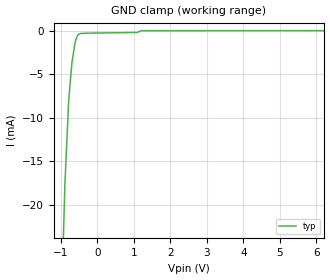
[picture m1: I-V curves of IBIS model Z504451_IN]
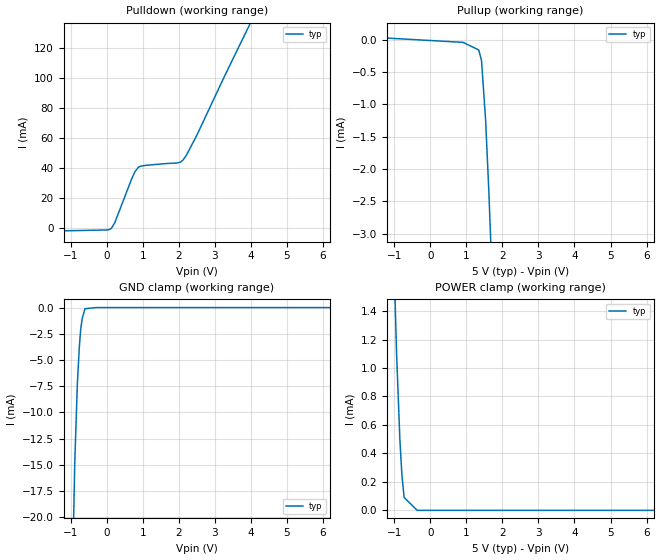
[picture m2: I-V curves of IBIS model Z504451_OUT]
| YOU ARE ONLY AUTHORIZED TO USE THIS SOFTWARE
| ACCORDING TO LICENSOR'S LICENSE RESTRICTIONS.
[IBIS Ver] 3.1
[File Name] sn54ls378j.ibs
[File Rev] 2.0
[Source] Measured and created by ICX Technology
[Date] Friday 7/14/00 9:08:15 AM
[Copyright]
| (C) COPYRIGHT 1993-2000
| MENTOR GRAPHICS CORPORATION
| ICX STANDARD LIBRARY, ICX PROJECT MODELING,
| ICX CUSTOM MODELING, ICX VENDOR MODEL
| ALL RIGHTS RESERVED.
| THE FOLLOWING ARE TRADEMARKS OR SERVICE MARKS OF
| MENTOR GRAPHICS CORPORATION:ICX (R), ICX STANDARD
| LIBRARY(R), ICX PROJECT MODELING(R), ICX CUSTOM
| MODELING(R), qualityIBIS(TM), MODELVIEWER(TM),
| AND MODELEDITOR(TM)
| ALL COPIES OF SOFTWARE, INCLUDING BUT NOT LIMITED TO
| ANY MODIFICATIONS, ENHANCEMENTS OR DERIVATIVE WORKS,
| MUST CONTAIN ALL MENTOR GRAPHICS CORPORATION'S
| NOTICES AND LEGENDS, INCLUDING THOSE EMBEDDED IN
| SOFTWARE AND THOSE AFFIXED TO SOFTWARE MEDIUM
| AND CONTAINER, AS RECEIVED FROM MENTOR GRAPHICS
| CORPORATION.
|  ZAP Model Builder 2.7
[Component] SN54LS378J
[Manufacturer] OnSemiconductor
[Package]
| variable   typ   min   max
R_pkg  .212ohms NA NA
L_pkg  4.758nH NA NA
C_pkg  1.944pF NA NA
[Pin] signal_name  model_name  R_pin  L_pin C_pin
1 _G Z504451_IN .224 7.258n 2.683p
2 Q0 Z504451_OUT .216 5.258n 2.19p
3 D0 Z504451_IN .208 3.758n 1.697p
4 D1 Z504451_IN .2 2.758n 1.204p
5 Q1 Z504451_OUT .2 2.758n 1.204p
6 D2 Z504451_IN .208 3.758n 1.697p
7 Q2 Z504451_OUT .216 5.258n 2.19p
8 GND GND .224 7.258n 2.683p
9 CLK Z504451_IN .224 7.258n 2.683p
10 Q3 Z504451_OUT .216 5.258n 2.19p
11 D3 Z504451_IN .208 3.758n 1.697p
12 Q4 Z504451_OUT .2 2.758n 1.204p
13 D4 Z504451_IN .2 2.758n 1.204p
14 D5 Z504451_IN .208 3.758n 1.697p
15 Q5 Z504451_OUT .216 5.258n 2.19p
16 VCC POWER .224 7.258n 2.683p
| Models and submodels in the file (2): Z504451_IN (Input), Z504451_OUT (Output)
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| (C) COPYRIGHT 1993-2000
| MENTOR GRAPHICS CORPORATION
| ICX STANDARD LIBRARY, ICX PROJECT MODELING,
| ICX CUSTOM MODELING, ICX VENDOR MODEL
| ALL RIGHTS RESERVED.
| THE FOLLOWING ARE TRADEMARKS OR SERVICE MARKS OF
| MENTOR GRAPHICS CORPORATION:ICX (R), ICX STANDARD
| LIBRARY(R), ICX PROJECT MODELING(R), ICX CUSTOM
| MODELING(R), qualityIBIS(TM), MODELVIEWER(TM),
| AND MODELEDITOR(TM)
| ALL COPIES OF SOFTWARE, INCLUDING BUT NOT LIMITED TO
| ANY MODIFICATIONS, ENHANCEMENTS OR DERIVATIVE WORKS,
| MUST CONTAIN ALL MENTOR GRAPHICS CORPORATION'S
| NOTICES AND LEGENDS, INCLUDING THOSE EMBEDDED IN
| SOFTWARE AND THOSE AFFIXED TO SOFTWARE MEDIUM
| AND CONTAINER, AS RECEIVED FROM MENTOR GRAPHICS
| CORPORATION.
| Model Application Version 1.89 2/18/99.
[Model] Z504451_IN
Model_type Input
Vinl = 800.0mV
Vinh = 2.000V
C_comp 4.000pF NA NA
| variable typ   min   max
[Voltage Range] 5.000V NA NA
[GND Clamp Reference] 0.000V NA NA
[POWER Clamp Reference] 5.000V NA NA
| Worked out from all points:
|   GND clamp passes 1 mA (typ) near -0.59 V on its own axis
[GND Clamp]
-5V       -625.9mA   NA         NA
-888.7mV  -17.63mA   NA         NA
-785.8mV  -8.044mA   NA         NA
-693.4mV  -3.553mA   NA         NA
-613.4mV  -1.448mA   NA         NA
-581.1mV  -918.3uA   NA         NA
-527.3mV  -447.3uA   NA         NA
-463.9mV  -316uA     NA         NA
-231.9mV  -279uA     NA         NA
1.089V    -203.9uA   NA         NA
1.206V    -3.043uA   NA         NA
10V       14.97uA    NA         NA
[POWER Clamp]
-5V       0A         NA         NA
10V       0A         NA         NA
| (C) COPYRIGHT 1993-2000
| MENTOR GRAPHICS CORPORATION
| ICX STANDARD LIBRARY, ICX PROJECT MODELING,
| ICX CUSTOM MODELING, ICX VENDOR MODEL
| ALL RIGHTS RESERVED.
| THE FOLLOWING ARE TRADEMARKS OR SERVICE MARKS OF
| MENTOR GRAPHICS CORPORATION:ICX (R), ICX STANDARD
| LIBRARY(R), ICX PROJECT MODELING(R), ICX CUSTOM
| MODELING(R), qualityIBIS(TM), MODELVIEWER(TM),
| AND MODELEDITOR(TM)
| ALL COPIES OF SOFTWARE, INCLUDING BUT NOT LIMITED TO
| ANY MODIFICATIONS, ENHANCEMENTS OR DERIVATIVE WORKS,
| MUST CONTAIN ALL MENTOR GRAPHICS CORPORATION'S
| NOTICES AND LEGENDS, INCLUDING THOSE EMBEDDED IN
| SOFTWARE AND THOSE AFFIXED TO SOFTWARE MEDIUM
| AND CONTAINER, AS RECEIVED FROM MENTOR GRAPHICS
| CORPORATION.
| Model Application Version 1.89 2/18/99.
[Model] Z504451_OUT
Model_type Output
Vref=5.000V
Rref=2.000kohms
Cref=15.00pF
Vmeas=1.300V
C_comp 8.000pF NA NA
| variable typ   min   max
[Voltage Range] 5.000V NA NA
[POWER Clamp Reference] 5.000V NA NA
[Pullup Reference] 5.000V NA NA
[Pulldown Reference] 0.000V NA NA
[GND Clamp Reference] 0.000V NA NA
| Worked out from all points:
|   slope of the pulldown table from 0 to 0.75 V, typ, clamps not added: 20.3 ohm
|   slope of the pullup table from 0 to 0.75 V, typ, clamps not added: 31.8 kohm
|   GND clamp passes 1 mA (typ) near -0.68 V on its own axis
|   POWER clamp passes 1 mA (typ) near -0.92 V on its own axis
[GND Clamp]
-5V       -1.113A    NA         NA
-1.167V   -71.37mA   NA         NA
-1.024V   -37.94mA   NA         NA
-888.7mV  -14.87mA   NA         NA
-817.7mV  -7.382mA   NA         NA
-763mV    -3.832mA   NA         NA
-726.9mV  -2.186mA   NA         NA
-683.6mV  -1.073mA   NA         NA
-606.2mV  -113.8uA   NA         NA
-303.1mV  0A         NA         NA
10V       0A         NA         NA
[Pulldown]
-5V       -3.476mA   NA         NA
87.85mV   -553.6uA   NA         NA
224.6mV   3.958mA    NA         NA
688.7mV   32.82mA    NA         NA
786.1mV   37.8mA     NA         NA
879.9mV   40.72mA    NA         NA
1.934V    43.4mA     NA         NA
2.113V    45.36mA    NA         NA
2.212V    48.76mA    NA         NA
2.495V    61.66mA    NA         NA
3.268V    101.1mA    NA         NA
10V       431.8mA    NA         NA
[Pullup]
-5V       145.1uA    NA         NA
907mV     -40.8uA    NA         NA
1.343V    -158.1uA   NA         NA
1.421V    -323.2uA   NA         NA
1.533V    -1.236mA   NA         NA
1.621V    -2.311mA   NA         NA
10V       -124.7mA   NA         NA
[POWER Clamp]
-5V       37.56mA    NA         NA
-936mV    1.096mA    NA         NA
-845mV    495.5uA    NA         NA
-787mV    241.7uA    NA         NA
-727mV    90.67uA    NA         NA
-363.5mV  0A         NA         NA
10V       0A         NA         NA
[Ramp]
| variable typ min max
dV/dt_r 1.802/10.46n NA NA
dV/dt_f 1.802/2.325n NA NA
R_load = 500.0Ohms
